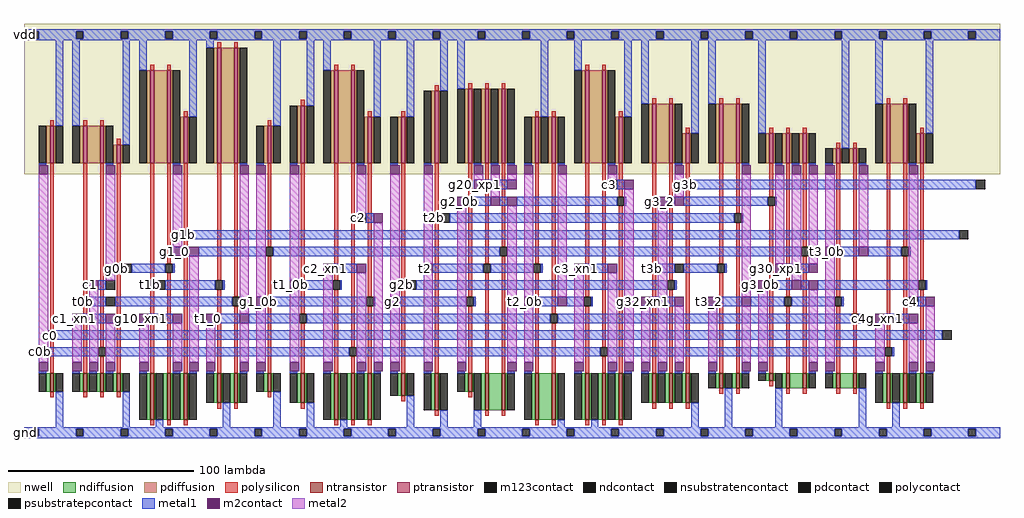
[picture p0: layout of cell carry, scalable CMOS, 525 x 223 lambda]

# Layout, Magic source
magic
tech scmos
<< nwell >>
rect 0 142 525 223
<< ntransistor >>
rect 14 25 16 35
rect 32 25 34 35
rect 41 25 43 35
rect 50 25 52 35
rect 68 10 70 35
rect 77 10 79 35
rect 86 10 88 35
rect 104 19 106 35
rect 113 19 115 35
rect 131 25 133 35
rect 149 19 151 35
rect 167 10 169 35
rect 176 10 178 35
rect 185 10 187 35
rect 203 23 205 35
rect 221 15 223 35
rect 239 25 241 35
rect 248 15 250 35
rect 257 15 259 35
rect 275 10 277 35
rect 284 10 286 35
rect 302 10 304 35
rect 311 10 313 35
rect 320 10 322 35
rect 338 19 340 35
rect 347 19 349 35
rect 356 19 358 35
rect 374 27 376 35
rect 383 27 385 35
rect 401 31 403 35
rect 410 27 412 35
rect 419 27 421 35
rect 437 27 439 35
rect 446 27 448 35
rect 464 19 466 35
rect 473 19 475 35
rect 482 19 484 35
<< ptransistor >>
rect 14 148 16 168
rect 32 148 34 168
rect 41 148 43 168
rect 50 148 52 158
rect 68 148 70 198
rect 77 148 79 198
rect 86 148 88 173
rect 104 148 106 210
rect 113 148 115 210
rect 131 148 133 168
rect 149 148 151 179
rect 167 148 169 198
rect 176 148 178 198
rect 185 148 187 173
rect 203 148 205 173
rect 221 148 223 187
rect 239 148 241 188
rect 248 148 250 188
rect 257 148 259 188
rect 275 148 277 173
rect 284 148 286 173
rect 302 148 304 198
rect 311 148 313 198
rect 320 148 322 173
rect 338 148 340 180
rect 347 148 349 180
rect 356 148 358 164
rect 374 148 376 180
rect 383 148 385 180
rect 401 148 403 164
rect 410 148 412 164
rect 419 148 421 164
rect 437 148 439 156
rect 446 148 448 156
rect 464 148 466 180
rect 473 148 475 180
rect 482 148 484 164
<< ndiffusion >>
rect 12 25 14 35
rect 16 25 17 35
rect 30 25 32 35
rect 34 25 35 35
rect 39 25 41 35
rect 43 25 44 35
rect 48 25 50 35
rect 52 25 53 35
rect 66 10 68 35
rect 70 10 71 35
rect 75 10 77 35
rect 79 10 80 35
rect 84 10 86 35
rect 88 10 89 35
rect 102 19 104 35
rect 106 19 107 35
rect 111 19 113 35
rect 115 19 116 35
rect 129 25 131 35
rect 133 25 134 35
rect 147 19 149 35
rect 151 19 152 35
rect 165 10 167 35
rect 169 10 170 35
rect 174 10 176 35
rect 178 10 179 35
rect 183 10 185 35
rect 187 10 188 35
rect 201 23 203 35
rect 205 23 206 35
rect 219 15 221 35
rect 223 15 224 35
rect 237 25 239 35
rect 241 25 242 35
rect 246 15 248 35
rect 250 15 257 35
rect 259 15 260 35
rect 273 10 275 35
rect 277 10 284 35
rect 286 10 287 35
rect 300 10 302 35
rect 304 10 305 35
rect 309 10 311 35
rect 313 10 314 35
rect 318 10 320 35
rect 322 10 323 35
rect 336 19 338 35
rect 340 19 341 35
rect 345 19 347 35
rect 349 19 350 35
rect 354 19 356 35
rect 358 19 359 35
rect 372 27 374 35
rect 376 27 377 35
rect 381 27 383 35
rect 385 27 386 35
rect 399 31 401 35
rect 403 31 404 35
rect 408 27 410 35
rect 412 27 419 35
rect 421 27 422 35
rect 435 27 437 35
rect 439 27 446 35
rect 448 27 449 35
rect 462 19 464 35
rect 466 19 467 35
rect 471 19 473 35
rect 475 19 476 35
rect 480 19 482 35
rect 484 19 485 35
<< pdiffusion >>
rect 12 148 14 168
rect 16 148 17 168
rect 30 148 32 168
rect 34 148 41 168
rect 43 148 44 168
rect 48 148 50 158
rect 52 148 53 158
rect 66 148 68 198
rect 70 148 77 198
rect 79 148 80 198
rect 84 148 86 173
rect 88 148 89 173
rect 102 148 104 210
rect 106 148 113 210
rect 115 148 116 210
rect 129 148 131 168
rect 133 148 134 168
rect 147 148 149 179
rect 151 148 152 179
rect 165 148 167 198
rect 169 148 176 198
rect 178 148 179 198
rect 183 148 185 173
rect 187 148 188 173
rect 201 148 203 173
rect 205 148 206 173
rect 219 148 221 187
rect 223 148 224 187
rect 237 148 239 188
rect 241 148 242 188
rect 246 148 248 188
rect 250 148 251 188
rect 255 148 257 188
rect 259 148 260 188
rect 273 148 275 173
rect 277 148 278 173
rect 282 148 284 173
rect 286 148 287 173
rect 300 148 302 198
rect 304 148 311 198
rect 313 148 314 198
rect 318 148 320 173
rect 322 148 323 173
rect 336 148 338 180
rect 340 148 347 180
rect 349 148 350 180
rect 354 148 356 164
rect 358 148 359 164
rect 372 148 374 180
rect 376 148 383 180
rect 385 148 386 180
rect 399 148 401 164
rect 403 148 404 164
rect 408 148 410 164
rect 412 148 413 164
rect 417 148 419 164
rect 421 148 422 164
rect 435 148 437 156
rect 439 148 440 156
rect 444 148 446 156
rect 448 148 449 156
rect 462 148 464 180
rect 466 148 473 180
rect 475 148 476 180
rect 480 148 482 164
rect 484 148 485 164
<< ndcontact >>
rect 8 25 12 35
rect 17 25 21 35
rect 26 25 30 35
rect 35 25 39 35
rect 44 25 48 35
rect 53 25 57 35
rect 62 10 66 35
rect 71 10 75 35
rect 80 10 84 35
rect 89 10 93 35
rect 98 19 102 35
rect 107 19 111 35
rect 116 19 120 35
rect 125 25 129 35
rect 134 25 138 35
rect 143 19 147 35
rect 152 19 156 35
rect 161 10 165 35
rect 170 10 174 35
rect 179 10 183 35
rect 188 10 192 35
rect 197 23 201 35
rect 206 23 210 35
rect 215 15 219 35
rect 224 15 228 35
rect 233 25 237 35
rect 242 15 246 35
rect 260 15 264 35
rect 269 10 273 35
rect 287 10 291 35
rect 296 10 300 35
rect 305 10 309 35
rect 314 10 318 35
rect 323 10 327 35
rect 332 19 336 35
rect 341 19 345 35
rect 350 19 354 35
rect 359 19 363 35
rect 368 27 372 35
rect 377 27 381 35
rect 386 27 390 35
rect 395 31 399 35
rect 404 27 408 35
rect 422 27 426 35
rect 431 27 435 35
rect 449 27 453 35
rect 458 19 462 35
rect 467 19 471 35
rect 476 19 480 35
rect 485 19 489 35
<< pdcontact >>
rect 8 148 12 168
rect 17 148 21 168
rect 26 148 30 168
rect 44 148 48 168
rect 53 148 57 158
rect 62 148 66 198
rect 80 148 84 198
rect 89 148 93 173
rect 98 148 102 210
rect 116 148 120 210
rect 125 148 129 168
rect 134 148 138 168
rect 143 148 147 179
rect 152 148 156 179
rect 161 148 165 198
rect 179 148 183 198
rect 188 148 192 173
rect 197 148 201 173
rect 206 148 210 173
rect 215 148 219 187
rect 224 148 228 187
rect 233 148 237 188
rect 242 148 246 188
rect 251 148 255 188
rect 260 148 264 188
rect 269 148 273 173
rect 278 148 282 173
rect 287 148 291 173
rect 296 148 300 198
rect 314 148 318 198
rect 323 148 327 173
rect 332 148 336 180
rect 350 148 354 180
rect 359 148 363 164
rect 368 148 372 180
rect 386 148 390 180
rect 395 148 399 164
rect 404 148 408 164
rect 413 148 417 164
rect 422 148 426 164
rect 431 148 435 156
rect 440 148 444 156
rect 449 148 453 156
rect 458 148 462 180
rect 476 148 480 180
rect 485 148 489 164
<< psubstratepcontact >>
rect 4 1 8 5
rect 28 1 32 5
rect 52 1 56 5
rect 76 1 80 5
rect 100 1 104 5
rect 124 1 128 5
rect 148 1 152 5
rect 172 1 176 5
rect 196 1 200 5
rect 220 1 224 5
rect 244 1 248 5
rect 268 1 272 5
rect 292 1 296 5
rect 316 1 320 5
rect 340 1 344 5
rect 364 1 368 5
rect 388 1 392 5
rect 412 1 416 5
rect 436 1 440 5
rect 460 1 464 5
rect 484 1 488 5
rect 508 1 512 5
<< nsubstratencontact >>
rect 4 215 8 219
rect 28 215 32 219
rect 52 215 56 219
rect 76 215 80 219
rect 100 215 104 219
rect 124 215 128 219
rect 148 215 152 219
rect 172 215 176 219
rect 196 215 200 219
rect 220 215 224 219
rect 244 215 248 219
rect 268 215 272 219
rect 292 215 296 219
rect 316 215 320 219
rect 340 215 344 219
rect 364 215 368 219
rect 388 215 392 219
rect 412 215 416 219
rect 436 215 440 219
rect 460 215 464 219
rect 484 215 488 219
rect 508 215 512 219
<< polysilicon >>
rect 104 210 106 213
rect 113 210 115 213
rect 68 198 70 201
rect 77 198 79 201
rect 14 168 16 171
rect 32 168 34 171
rect 41 168 43 171
rect 50 158 52 161
rect 86 173 88 176
rect 167 198 169 201
rect 176 198 178 201
rect 302 198 304 201
rect 311 198 313 201
rect 149 179 151 182
rect 131 168 133 171
rect 221 187 223 190
rect 239 188 241 191
rect 248 188 250 191
rect 257 188 259 191
rect 185 173 187 176
rect 203 173 205 176
rect 275 173 277 176
rect 284 173 286 176
rect 338 180 340 183
rect 347 180 349 183
rect 374 180 376 183
rect 383 180 385 183
rect 464 180 466 183
rect 473 180 475 183
rect 320 173 322 176
rect 356 164 358 167
rect 401 164 403 167
rect 410 164 412 167
rect 419 164 421 167
rect 437 156 439 159
rect 446 156 448 159
rect 482 164 484 167
rect 14 58 16 148
rect 32 76 34 148
rect 14 35 16 53
rect 32 35 34 71
rect 41 49 43 148
rect 50 94 52 148
rect 41 35 43 44
rect 50 35 52 89
rect 68 85 70 148
rect 77 94 79 148
rect 86 112 88 148
rect 68 35 70 80
rect 77 35 79 89
rect 86 35 88 107
rect 104 85 106 148
rect 104 35 106 80
rect 113 76 115 148
rect 131 103 133 148
rect 113 35 115 71
rect 131 35 133 98
rect 149 67 151 148
rect 167 85 169 148
rect 149 35 151 62
rect 167 35 169 80
rect 176 49 178 148
rect 185 76 187 148
rect 203 85 205 148
rect 221 121 223 148
rect 176 35 178 44
rect 185 35 187 71
rect 203 35 205 80
rect 221 35 223 116
rect 239 76 241 148
rect 248 94 250 148
rect 257 103 259 148
rect 239 35 241 71
rect 248 35 250 89
rect 257 35 259 98
rect 275 94 277 148
rect 275 35 277 89
rect 284 67 286 148
rect 302 76 304 148
rect 284 35 286 62
rect 302 35 304 71
rect 311 49 313 148
rect 320 130 322 148
rect 311 35 313 44
rect 320 35 322 125
rect 338 94 340 148
rect 338 35 340 89
rect 347 85 349 148
rect 356 139 358 148
rect 347 35 349 80
rect 356 35 358 134
rect 374 94 376 148
rect 383 121 385 148
rect 401 130 403 148
rect 374 35 376 89
rect 383 35 385 116
rect 401 35 403 125
rect 410 76 412 148
rect 419 103 421 148
rect 410 35 412 71
rect 419 35 421 98
rect 437 76 439 148
rect 437 35 439 71
rect 446 67 448 148
rect 446 35 448 62
rect 464 49 466 148
rect 473 103 475 148
rect 464 35 466 44
rect 473 35 475 98
rect 482 85 484 148
rect 482 35 484 80
rect 14 22 16 25
rect 32 22 34 25
rect 41 22 43 25
rect 50 22 52 25
rect 131 22 133 25
rect 104 16 106 19
rect 113 16 115 19
rect 149 16 151 19
rect 203 20 205 23
rect 239 22 241 25
rect 221 12 223 15
rect 248 12 250 15
rect 257 12 259 15
rect 401 28 403 31
rect 374 24 376 27
rect 383 24 385 27
rect 410 24 412 27
rect 419 24 421 27
rect 437 24 439 27
rect 446 24 448 27
rect 338 16 340 19
rect 347 16 349 19
rect 356 16 358 19
rect 464 16 466 19
rect 473 16 475 19
rect 482 16 484 19
rect 68 7 70 10
rect 77 7 79 10
rect 86 7 88 10
rect 167 7 169 10
rect 176 7 178 10
rect 185 7 187 10
rect 275 7 277 10
rect 284 7 286 10
rect 302 7 304 10
rect 311 7 313 10
rect 320 7 322 10
<< polycontact >>
rect 31 71 35 76
rect 13 53 17 58
rect 49 89 53 94
rect 40 44 44 49
rect 85 107 89 112
rect 76 89 80 94
rect 67 80 71 85
rect 103 80 107 85
rect 130 98 134 103
rect 112 71 116 76
rect 166 80 170 85
rect 148 62 152 67
rect 220 116 224 121
rect 202 80 206 85
rect 184 71 188 76
rect 175 44 179 49
rect 256 98 260 103
rect 247 89 251 94
rect 238 71 242 76
rect 274 89 278 94
rect 301 71 305 76
rect 283 62 287 67
rect 319 125 323 130
rect 310 44 314 49
rect 337 89 341 94
rect 355 134 359 139
rect 346 80 350 85
rect 400 125 404 130
rect 382 116 386 121
rect 373 89 377 94
rect 418 98 422 103
rect 409 71 413 76
rect 436 71 440 76
rect 445 62 449 67
rect 472 98 476 103
rect 463 44 467 49
rect 481 80 485 85
<< metal1 >>
rect 0 219 525 220
rect 0 215 4 219
rect 8 215 28 219
rect 32 215 52 219
rect 56 215 76 219
rect 80 215 100 219
rect 104 215 124 219
rect 128 215 148 219
rect 152 215 172 219
rect 176 215 196 219
rect 200 215 220 219
rect 224 215 244 219
rect 248 215 268 219
rect 272 215 292 219
rect 296 215 316 219
rect 320 215 340 219
rect 344 215 364 219
rect 368 215 388 219
rect 392 215 412 219
rect 416 215 436 219
rect 440 215 460 219
rect 464 215 484 219
rect 488 215 508 219
rect 512 215 525 219
rect 0 214 525 215
rect 17 168 21 214
rect 26 168 30 214
rect 53 158 57 214
rect 62 198 66 214
rect 89 173 93 214
rect 98 210 102 214
rect 134 168 138 214
rect 152 179 156 214
rect 8 147 12 148
rect 44 147 48 148
rect 80 147 84 148
rect 116 147 120 148
rect 161 198 165 214
rect 188 173 192 214
rect 206 173 210 214
rect 224 187 228 214
rect 233 188 237 214
rect 125 147 129 148
rect 143 147 147 148
rect 179 147 183 148
rect 197 147 201 148
rect 215 147 219 148
rect 242 147 246 148
rect 251 147 255 148
rect 278 173 282 214
rect 296 198 300 214
rect 260 147 264 148
rect 323 173 327 214
rect 332 180 336 214
rect 359 164 363 214
rect 368 180 372 214
rect 395 164 399 214
rect 269 147 273 148
rect 287 147 291 148
rect 314 147 318 148
rect 350 147 354 148
rect 386 147 390 148
rect 404 147 408 148
rect 413 147 417 148
rect 440 156 444 214
rect 458 180 462 214
rect 422 147 426 148
rect 485 164 489 214
rect 431 147 435 148
rect 449 147 453 148
rect 476 147 480 148
rect 247 134 260 139
rect 319 134 323 139
rect 359 134 512 139
rect 238 125 251 130
rect 256 125 260 130
rect 265 125 319 130
rect 323 125 324 130
rect 346 125 350 130
rect 355 125 400 130
rect 404 125 405 130
rect 184 116 188 121
rect 229 116 382 121
rect 386 116 387 121
rect 89 107 503 112
rect 85 98 89 103
rect 94 98 130 103
rect 134 98 256 103
rect 260 98 418 103
rect 422 98 423 103
rect 436 98 449 103
rect 454 98 472 103
rect 476 98 477 103
rect 58 89 76 94
rect 80 89 81 94
rect 166 89 179 94
rect 220 89 247 94
rect 251 89 274 94
rect 278 89 279 94
rect 301 89 314 94
rect 341 89 350 94
rect 355 89 373 94
rect 377 89 378 94
rect 409 89 422 94
rect 40 80 44 85
rect 76 80 103 85
rect 107 80 108 85
rect 148 80 166 85
rect 170 80 171 85
rect 211 80 346 85
rect 350 80 351 85
rect 400 80 413 85
rect 418 80 422 85
rect 427 80 481 85
rect 485 80 486 85
rect 35 71 44 76
rect 49 71 112 76
rect 116 71 117 76
rect 130 71 184 76
rect 188 71 189 76
rect 202 71 238 76
rect 242 71 243 76
rect 274 71 287 76
rect 292 71 301 76
rect 305 71 306 76
rect 337 71 350 76
rect 373 71 386 76
rect 391 71 409 76
rect 413 71 436 76
rect 440 71 441 76
rect 481 71 485 76
rect 31 62 44 67
rect 67 62 80 67
rect 103 62 116 67
rect 121 62 148 67
rect 152 62 283 67
rect 287 62 445 67
rect 449 62 450 67
rect 463 62 476 67
rect 17 53 494 58
rect 13 44 40 49
rect 44 44 175 49
rect 179 44 310 49
rect 314 44 463 49
rect 467 44 468 49
rect 8 35 12 36
rect 26 35 30 36
rect 35 35 39 36
rect 44 35 48 36
rect 62 35 66 36
rect 80 35 84 36
rect 17 6 21 25
rect 53 6 57 25
rect 89 35 93 36
rect 98 35 102 36
rect 116 35 120 36
rect 125 35 129 36
rect 143 35 147 36
rect 161 35 165 36
rect 179 35 183 36
rect 71 6 75 10
rect 107 6 111 19
rect 134 6 138 25
rect 152 6 156 19
rect 188 35 192 36
rect 197 35 201 36
rect 215 35 219 36
rect 233 35 237 36
rect 260 35 264 36
rect 170 6 174 10
rect 206 6 210 23
rect 224 6 228 15
rect 269 35 273 36
rect 296 35 300 36
rect 314 35 318 36
rect 242 6 246 15
rect 323 35 327 36
rect 332 35 336 36
rect 341 35 345 36
rect 350 35 354 36
rect 368 35 372 36
rect 386 35 390 36
rect 395 35 399 36
rect 422 35 426 36
rect 431 35 435 36
rect 458 35 462 36
rect 476 35 480 36
rect 287 6 291 10
rect 305 6 309 10
rect 359 6 363 19
rect 377 6 381 27
rect 404 6 408 27
rect 449 6 453 27
rect 485 35 489 36
rect 467 6 471 19
rect 0 5 525 6
rect 0 1 4 5
rect 8 1 28 5
rect 32 1 52 5
rect 56 1 76 5
rect 80 1 100 5
rect 104 1 124 5
rect 128 1 148 5
rect 152 1 172 5
rect 176 1 196 5
rect 200 1 220 5
rect 224 1 244 5
rect 248 1 268 5
rect 272 1 292 5
rect 296 1 316 5
rect 320 1 340 5
rect 344 1 364 5
rect 368 1 388 5
rect 392 1 412 5
rect 416 1 436 5
rect 440 1 460 5
rect 464 1 484 5
rect 488 1 508 5
rect 512 1 525 5
rect 0 0 525 1
<< m2contact >>
rect 8 142 13 147
rect 44 142 49 147
rect 80 142 85 147
rect 116 142 121 147
rect 125 142 130 147
rect 143 142 148 147
rect 179 142 184 147
rect 197 142 202 147
rect 215 142 220 147
rect 242 142 247 147
rect 251 142 256 147
rect 260 142 265 147
rect 269 142 274 147
rect 287 142 292 147
rect 314 142 319 147
rect 350 142 355 147
rect 386 142 391 147
rect 404 142 409 147
rect 413 142 418 147
rect 422 142 427 147
rect 431 142 436 147
rect 449 142 454 147
rect 476 142 481 147
rect 242 134 247 139
rect 260 134 265 139
rect 323 134 328 139
rect 233 125 238 130
rect 251 125 256 130
rect 260 125 265 130
rect 341 125 346 130
rect 350 125 355 130
rect 188 116 193 121
rect 80 98 85 103
rect 89 98 94 103
rect 431 98 436 103
rect 449 98 454 103
rect 161 89 166 94
rect 179 89 184 94
rect 215 89 220 94
rect 296 89 301 94
rect 314 89 319 94
rect 404 89 409 94
rect 422 89 427 94
rect 35 80 40 85
rect 143 80 148 85
rect 395 80 400 85
rect 413 80 418 85
rect 422 80 427 85
rect 125 71 130 76
rect 197 71 202 76
rect 269 71 274 76
rect 287 71 292 76
rect 332 71 337 76
rect 350 71 355 76
rect 368 71 373 76
rect 386 71 391 76
rect 485 71 490 76
rect 26 62 31 67
rect 44 62 49 67
rect 62 62 67 67
rect 80 62 85 67
rect 98 62 103 67
rect 116 62 121 67
rect 458 62 463 67
rect 476 62 481 67
rect 8 44 13 49
rect 8 36 13 41
rect 26 36 31 41
rect 35 36 40 41
rect 44 36 49 41
rect 62 36 67 41
rect 80 36 85 41
rect 89 36 94 41
rect 98 36 103 41
rect 116 36 121 41
rect 125 36 130 41
rect 143 36 148 41
rect 161 36 166 41
rect 179 36 184 41
rect 188 36 193 41
rect 197 36 202 41
rect 215 36 220 41
rect 233 36 238 41
rect 260 36 265 41
rect 269 36 274 41
rect 296 36 301 41
rect 314 36 319 41
rect 323 36 328 41
rect 332 36 337 41
rect 341 36 346 41
rect 350 36 355 41
rect 368 36 373 41
rect 386 36 391 41
rect 395 36 400 41
rect 422 36 427 41
rect 431 36 436 41
rect 458 36 463 41
rect 476 36 481 41
rect 485 36 490 41
<< metal2 >>
rect 8 49 13 142
rect 44 85 49 142
rect 80 103 85 142
rect 8 41 13 44
rect 26 41 31 62
rect 35 41 40 80
rect 44 41 49 62
rect 62 41 67 62
rect 80 41 85 62
rect 89 41 94 98
rect 116 67 121 142
rect 98 41 103 62
rect 116 41 121 62
rect 125 76 130 142
rect 125 41 130 71
rect 143 85 148 142
rect 179 121 184 142
rect 143 41 148 80
rect 161 41 166 89
rect 179 41 184 89
rect 188 41 193 116
rect 197 76 202 142
rect 215 94 220 142
rect 242 139 247 142
rect 251 130 256 142
rect 260 139 265 142
rect 197 41 202 71
rect 215 41 220 89
rect 233 41 238 125
rect 260 41 265 125
rect 269 76 274 142
rect 287 76 292 142
rect 314 139 319 142
rect 269 41 274 71
rect 296 41 301 89
rect 314 41 319 89
rect 323 41 328 134
rect 350 130 355 142
rect 332 41 337 71
rect 341 41 346 125
rect 386 76 391 142
rect 404 94 409 142
rect 413 85 418 142
rect 422 94 427 142
rect 431 103 436 142
rect 449 103 454 142
rect 350 41 355 71
rect 368 41 373 71
rect 386 41 391 71
rect 395 41 400 80
rect 422 41 427 80
rect 431 41 436 98
rect 476 76 481 142
rect 458 41 463 62
rect 476 41 481 62
rect 485 41 490 71
<< m123contact >>
rect 53 89 58 94
rect 44 80 49 85
rect 71 80 76 85
rect 44 71 49 76
rect 179 116 184 121
rect 224 116 229 121
rect 206 80 211 85
rect 314 134 319 139
rect 350 89 355 94
rect 512 134 517 139
rect 503 107 508 112
rect 476 71 481 76
rect 494 53 499 58
<< labels >>
rlabel metal1 13 53 15 58 0 c0
port 1 nsew
rlabel m2contact 35 80 37 85 0 c1
port 2 nsew
rlabel metal1 179 116 181 121 0 c2
port 3 nsew
rlabel metal1 314 134 316 139 0 c3
port 4 nsew
rlabel metal1 476 71 478 76 0 c4
port 5 nsew
rlabel metal1 49 89 51 94 0 g0b
port 6 nsew
rlabel metal1 85 107 87 112 0 g1b
port 7 nsew
rlabel metal1 202 80 204 85 0 g2b
port 8 nsew
rlabel metal1 355 134 357 139 0 g3b
port 9 nsew
rlabel metal1 31 71 33 76 0 t0b
port 10 nsew
rlabel metal1 67 80 69 85 0 t1b
port 11 nsew
rlabel metal1 220 116 222 121 0 t2b
port 12 nsew
rlabel metal1 337 89 339 94 0 t3b
port 13 nsew
rlabel m2contact 8 44 10 49 0 c0b
rlabel m2contact 26 62 28 67 0 c1_xn1
rlabel m2contact 161 89 163 94 0 c2_xn1
rlabel m2contact 296 89 298 94 0 c3_xn1
rlabel m2contact 458 62 460 67 0 c4g_xn1
rlabel m2contact 62 62 64 67 0 g10_xn1
rlabel m2contact 80 98 82 103 0 g1_0
rlabel m2contact 125 71 127 76 0 g1_0b
rlabel m2contact 197 71 199 76 0 g2
rlabel m2contact 242 134 244 139 0 g20_xp1
rlabel m2contact 233 125 235 130 0 g2_0b
rlabel m2contact 404 89 406 94 0 g30_xp1
rlabel m2contact 332 71 334 76 0 g32_xn1
rlabel m2contact 395 80 397 85 0 g3_0b
rlabel m2contact 341 125 343 130 0 g3_2
rlabel m2contact 98 62 100 67 0 t1_0
rlabel m2contact 143 80 145 85 0 t1_0b
rlabel m2contact 215 89 217 94 0 t2
rlabel m2contact 269 71 271 76 0 t2_0b
rlabel m2contact 431 98 433 103 0 t3_0b
rlabel m2contact 368 71 370 76 0 t3_2
rlabel metal1 0 214 2 220 0 vdd
port 14 nsew
rlabel metal1 0 0 2 6 0 gnd
port 15 nsew
<< end >>
